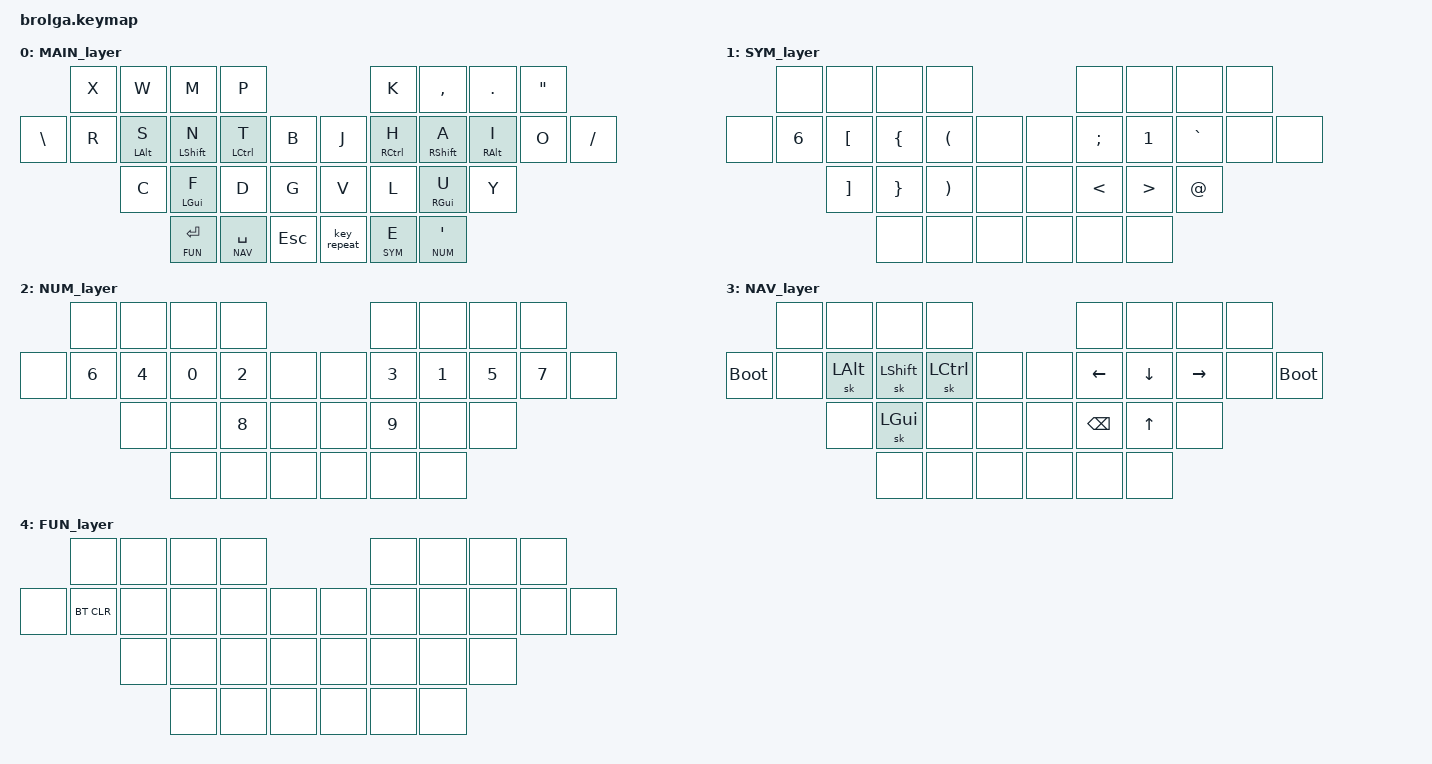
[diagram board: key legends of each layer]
/*
 * Copyright (c) 2020 The ZMK Contributors
 *
 * SPDX-License-Identifier: MIT
 */

#include <behaviors.dtsi>
#include <dt-bindings/zmk/keys.h>
#include <dt-bindings/zmk/bt.h>

#define MAIN 0
#define SYM 1
#define NUM 2
#define NAV 3
#define FUN 4

&lt {
	retro-tap;
    tapping-term-ms = <175>;
    quick_tap_ms = <125>;
    flavor = "tap-preferred";
};

&mt {
    flavor = "tap-preferred";
    retro-tap;
    quick-tap-ms = <125>;
    tapping_term_ms = <175>;
};


/ { 

	behaviors {

        skq: sticky_key_quick_release {
            compatible = "zmk,behavior-sticky-key";
            label = "STICKY_KEY_QUICK_RELEASE";
            #binding-cells = <1>;
            bindings = <&kp>;
            release-after-ms = <1000>;
            quick-release;
        };
	
		gqt: global-quick-tap {
			compatible = "zmk,behavior-hold-tap";
			label = "GLOBAL_QUICK_TAP";
			#binding-cells = <2>;
			flavor = "tap-preferred";
			tapping-term-ms = <200>;
			quick-tap-ms = <125>;
			global-quick-tap;
			bindings = <&kp>, <&kp>;
		};
	};

    combos {
        compatible = "zmk,combos";
        combo_z {
            timeout-ms = <30>;
            key-positions = <20 21>;
            bindings = <&kp Z>;
        };
        combo_tab {
            timeout-ms = <30>;
            key-positions = <21 22>;
            bindings = <&kp TAB>;
        };
        
    };

        keymap {
                compatible = "zmk,keymap";
                
    MAIN_layer {
		bindings = <
	 	  &kp X  &kp W 	      &kp M        &kp P       					           &kp K        &kp COMMA       &kp DOT      &kp DQT 
 &kp BSLH &kp R  &gqt LALT S  &mt LSHFT N  &gqt LCTRL T  &kp B 			    &kp J  &gqt RCTL H  &mt RSHFT A     &gqt RALT I  &kp O   &kp FSLH
		         &kp C        &gqt LGUI F  &kp D         &kp G			   	&kp V  &kp L        &gqt RGUI U     &kp Y
          		    				&lt FUN ENTER &lt NAV SPACE &kp ESC     &key_repeat &lt SYM E &lt NUM SQT 
		>;
		};

    SYM_layer {
		bindings = <
	 	  &none  &none    &none     &none       					   &none    &none   &none     &none 
 &none    &kp N6 &kp LBKT &kp LBRC  &kp LPAR  &none 	        &none  &kp SEMI &kp N1  &kp GRAVE &none  &none
		         &kp RBKT &kp RBRC  &kp RPAR  &none			    &none  &kp LT   &kp GT  &kp AT
          		          &none     &none     &none       	    &none  &none    &none 
		>;
		};

    NUM_layer {
		bindings = <
	 	  &none  &none  &none   &none       					   &none   &none   &none   &none 
 &none    &kp N6 &kp N4 &kp N0  &kp N2  &none 			    &none  &kp N3  &kp N1  &kp N5  &kp N7  &none
		         &none  &none   &kp N8  &none			    &none  &kp N9  &none   &none
          		        &none   &none   &none       	    &none  &none   &none 
		>;
		};

    NAV_layer {
		bindings = <
	 	  		&none    &none    &none     &none       					   &none    &none     &none      &none 
 &bootloader    &none    &sk LALT &sk LSHFT &sk LCTRL &none 		    &none  &kp LEFT &kp DOWN  &kp RIGHT  &none   &bootloader
		                  &none   &sk LGUI  &none     &none			    &none  &kp BSPC &kp UP    &none
          		       &none  &none  &none       	    &none  &none   &none 
		>;
		};
	FUN_layer {
		bindings = <
	 	  &none      &none &none  &none       					   &none    &none     &none      &none 
 &none    &bt BT_CLR &none &none  &none  &none 		        &none  &none    &none     &none      &none  &none
		             &none &none  &none  &none			    &none  &none    &none     &none
          		       &none  &none  &none       	    &none  &none   &none 
		>;
		};
        
	};
};
